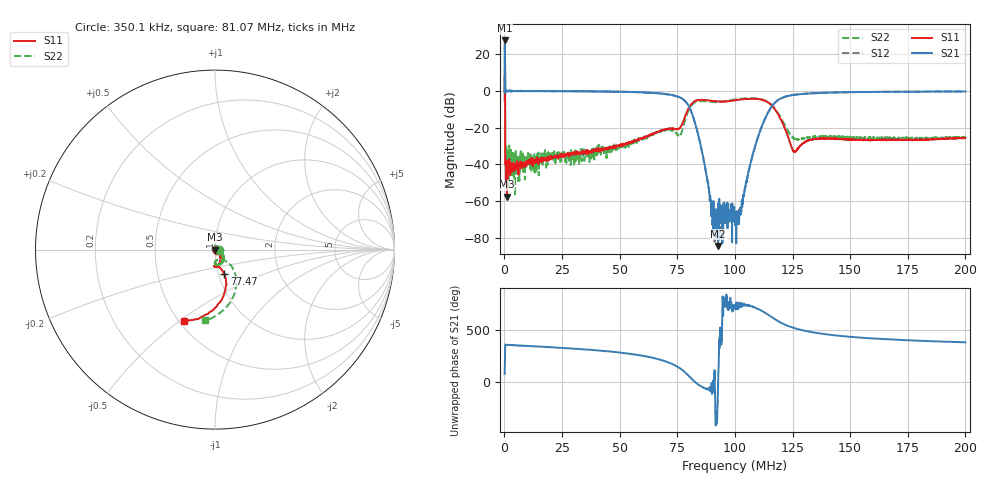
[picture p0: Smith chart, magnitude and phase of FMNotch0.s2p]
! 19-Feb-26 12:57:59 PM
! E:\VNA_MEASUREMENTS\RECBLOCK\FMNOTCH0.S2P
! CHANNEL.1
! TR.MEASUREMENT
! CORRECTED.DATA
# GHZ S RI R 50.0
! FREQ.GHZ  S11RE  S11IM  S21RE  S21IM  S12RE  S12IM  S22RE  S22IM
!; PortSelection: Port_12
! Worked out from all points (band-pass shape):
!   2000 points, 50 kHz to 200 MHz, reference 50 ohm
!   highest |S21| = 27.49 dB at 150 kHz (marker M1); lowest = -84.5 dB at 92.67 MHz (marker M2)
!   |S21| within 3 dB of the highest: 139.5 kHz to 179.2 kHz (39.65 kHz wide, 24.9 % of centre)
!   lowest |S11| = -57.7 dB at 1.05 MHz (marker M3), VSWR 1.00, Z = 50.1 + j0.00821 ohm
!   |S11| at or under -10 dB: 294.8 kHz to 79.7 MHz (79.4 MHz wide, 199 % of centre); 117.3 MHz to end of sweep
!   |S22| runs from -57.6 to 25.2 dB; largest |S21 - S12| = 26
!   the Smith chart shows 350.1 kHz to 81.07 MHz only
!   S11 on the Smith chart (normalised r, x): 350.1 kHz: 1.02, -0.00; 77.47 MHz: 1.07, -0.29; 81.07 MHz: 0.53, -0.52
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5e-05  0.3985 1.077  0.1847 0.8585  0.2626 0.4368  -0.7212 -0.4616
0.000150025  0.1191 -2.894  -21.34 10.29  1.938 -1.925  -18.15 0.2337
0.000350075  0.01 -0.00122  1.013 -0.00762  1 -0.00298  0.0235 -0.000889
0.00105025  0.0013 8.19e-05  0.9584 -0.0332  0.9874 -0.021  -0.0154 -0.00542
0.001150275  0.0076 0.00193  1.002 -0.00978  0.9894 -0.028  0.0139 0.00844
0.0012503  0.00401 0.000971  0.9724 -0.0155  0.9883 -0.0301  -0.00595 0.0084
0.03345835  0.0193 -0.00377  0.7224 -0.6686  0.7074 -0.6689  0.012 -0.00134
0.06676668  0.0278 -0.071  -0.6615 -0.546  -0.6621 -0.552  0.0442 -0.0601
0.07286821  -0.00273 -0.0928  -0.758 0.1044  -0.7587 0.0982  0.00701 -0.0858
0.07746936  0.0527 -0.1338  -0.209 0.5535  -0.2047 0.5548  0.0732 -0.072
0.08107026  -0.1751 -0.3981  0.2236 0.1472  0.2237 0.1475  -0.0537 -0.3943
0.08547136  -0.5393 0.1774  0.0183 -0.0187  0.018 -0.0186  -0.5093 0.1226
0.09017254  0.0962 0.5223  -0.00023 -0.000794  0.000368 -0.000595  0.1487 0.4727
0.09267316  0.4232 0.2915  4.81e-05 -3.47e-05  1.24e-05 5.7e-05  0.4545 0.2015
0.100075  -0.0461 -0.5523  0.00035 0.00017  0.000373 0.000108  -0.0935 -0.5783
0.1065766  -0.5939 0.1119  0.00895 0.00247  0.00914 0.00289  -0.627 0.0636
0.1111778  -0.1379 0.5644  0.0802 -0.0395  0.0795 -0.0398  -0.2351 0.548
0.1151788  0.3367 0.29  0.049 -0.3129  0.05 -0.3137  0.2693 0.3724
0.1255814  0.0222 -0.00309  -0.7422 0.2362  -0.7411 0.2329  0.0502 -0.0016
0.1333833  0.0424 0.0182  -0.4549 0.7239  -0.4567 0.7299  0.0536 0.00791
0.1666917  0.0364 -0.03  0.5798 0.747  0.5737 0.7406  0.0303 -0.0408
0.2  0.025 -0.0451  0.8837 0.3851  0.882 0.3839  0.0119 -0.0544
